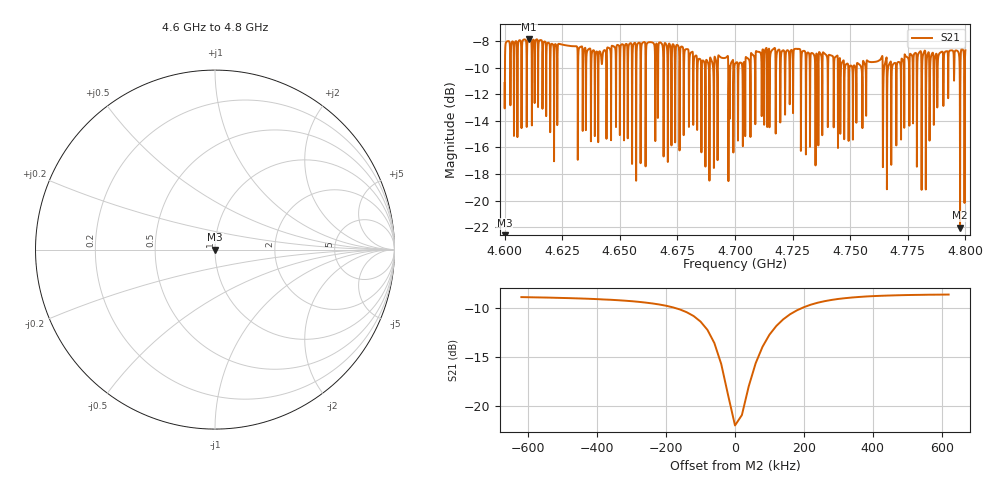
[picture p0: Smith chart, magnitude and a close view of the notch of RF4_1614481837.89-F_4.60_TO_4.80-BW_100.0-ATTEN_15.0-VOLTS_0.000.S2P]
!Keysight Technologies,E5063A,MY54502693,A.05.04
!Date: Sat Feb 27 20:10:57 2021
!Data & Calibration Information:
!Freq	S11:NONE(--)	S21:NONE(--)	S12:NONE(--)	S22:NONE(--)
# Hz S RI R 50
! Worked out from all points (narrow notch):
!   10000 points, 4.6 GHz to 4.8 GHz, reference 50 ohm
!   highest |S21| = -7.87 dB at 4.6106 GHz (marker M1); lowest = -22.0 dB at 4.7977 GHz (marker M2)
!   notch at M2: 13.1 dB deep, 104 kHz wide at half that depth
!   lowest |S11| = - dB at 4.6 GHz (marker M3), VSWR 1.00, Z = 50 + j0 ohm
!   |S11| at or under -10 dB: start of sweep to end of sweep
!   S12 and S22 are empty: the file has one direction only
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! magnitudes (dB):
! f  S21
! 4.6 GHz  -11.2
! 4.6013 GHz  -8.0
! 4.6048 GHz  -8.0
! 4.6106 GHz  -7.9
! 4.6333 GHz  -8.4
! 4.6667 GHz  -9.2
! 4.6716 GHz  -8.2
! 4.6789 GHz  -8.6
! 4.688 GHz  -9.5
! 4.6916 GHz  -9.4
! 4.6936 GHz  -9.2
! 4.7 GHz  -9.7
! 4.71 GHz  -8.8
! 4.7149 GHz  -8.8
! 4.7165 GHz  -8.6
! 4.7334 GHz  -8.9
! 4.7667 GHz  -9.9
! 4.7745 GHz  -9.2
! 4.7837 GHz  -8.9
! 4.7938 GHz  -8.7
! 4.7977 GHz  -22.0
! 4.8 GHz  -8.7
